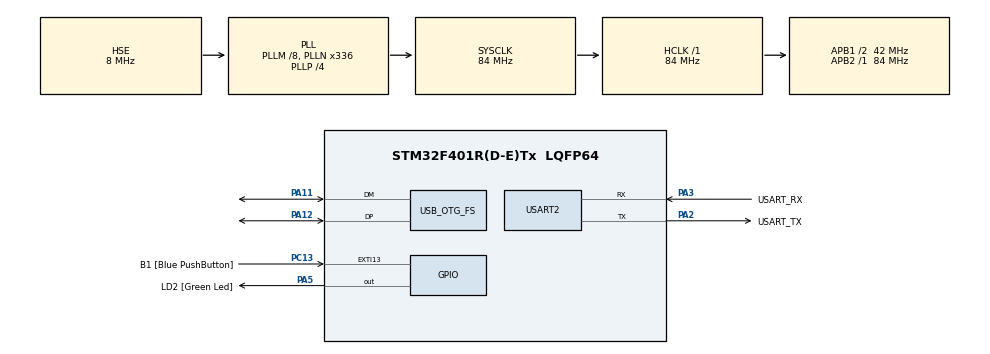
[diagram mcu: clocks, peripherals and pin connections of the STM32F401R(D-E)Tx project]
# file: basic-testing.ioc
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Mcu.Family=STM32F4
Mcu.Name=STM32F401R(D-E)Tx
Mcu.Package=LQFP64
NVIC.OTG_FS_IRQn=true\:0\:0\:false\:false\:true\:true\:true\:true
NVIC.PriorityGroup=NVIC_PRIORITYGROUP_2
NVIC.USART2_IRQn=true\:2\:0\:true\:false\:true\:true\:true\:true
PA11.Mode=Device_Only
PA11.Signal=USB_OTG_FS_DM
PA12.Mode=Device_Only
PA12.Signal=USB_OTG_FS_DP
PA13.GPIO_Label=TMS
PA13.Signal=SYS_JTMS-SWDIO
PA14.GPIO_Label=TCK
PA14.Signal=SYS_JTCK-SWCLK
PA2.GPIO_Label=USART_TX
PA2.GPIO_Mode=GPIO_MODE_AF_PP
PA2.GPIO_PuPd=GPIO_NOPULL
PA2.GPIO_Speed=GPIO_SPEED_FREQ_LOW
PA2.Mode=Asynchronous
PA2.Signal=USART2_TX
PA3.GPIO_Label=USART_RX
PA3.GPIO_Mode=GPIO_MODE_AF_PP
PA3.GPIO_PuPd=GPIO_NOPULL
PA3.GPIO_Speed=GPIO_SPEED_FREQ_LOW
PA3.Mode=Asynchronous
PA3.Signal=USART2_RX
PA5.GPIO_Label=LD2 [Green Led]
PA5.GPIO_Mode=GPIO_MODE_OUTPUT_PP
PA5.GPIO_PuPd=GPIO_NOPULL
PA5.GPIO_Speed=GPIO_SPEED_FREQ_LOW
PA5.Signal=GPIO_Output
PB3.GPIO_Label=SWO
PB3.Signal=SYS_JTDO-SWO
PC13-ANTI_TAMP.GPIO_Label=B1 [Blue PushButton]
PC13-ANTI_TAMP.GPIO_ModeDefaultEXTI=GPIO_MODE_IT_FALLING
PC13-ANTI_TAMP.GPIO_PuPd=GPIO_NOPULL
PC13-ANTI_TAMP.Signal=GPXTI13
PC14-OSC32_IN.Signal=RCC_OSC32_IN
PC15-OSC32_OUT.Signal=RCC_OSC32_OUT
PH0\ -\ OSC_IN.Mode=HSE-External-Oscillator
PH0\ -\ OSC_IN.Signal=RCC_OSC_IN
PH1\ -\ OSC_OUT.Mode=HSE-External-Oscillator
PH1\ -\ OSC_OUT.Signal=RCC_OSC_OUT
ProjectManager.HeapSize=0x200
ProjectManager.StackSize=0x400
ProjectManager.TargetToolchain=STM32CubeIDE
RCC.48MHZClocksFreq_Value=48000000
RCC.AHBFreq_Value=84000000
RCC.APB1CLKDivider=RCC_HCLK_DIV2
RCC.APB1Freq_Value=42000000
RCC.APB1TimFreq_Value=84000000
RCC.APB2Freq_Value=84000000
RCC.APB2TimFreq_Value=84000000
RCC.CortexFreq_Value=84000000
RCC.HCLKFreq_Value=84000000
RCC.HSE_VALUE=8000000
RCC.HSI_VALUE=16000000
RCC.LSE_VALUE=32768
RCC.PLLM=8
RCC.PLLN=336
RCC.PLLP=RCC_PLLP_DIV4
RCC.PLLQ=7
RCC.SYSCLKFreq_VALUE=84000000
RCC.SYSCLKSource=RCC_SYSCLKSOURCE_PLLCLK
RCC.VCOOutputFreq_Value=336000000
USART2.VirtualMode=VM_ASYNC
USB_OTG_FS.VirtualMode=Device_Only
board=NUCLEO-F401RE

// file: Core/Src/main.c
/* USER CODE BEGIN Header */
/**
  ******************************************************************************
  * @file           : main.c
  * @brief          : Main program body
  ******************************************************************************
  * @attention
  *
  * Copyright (c) 2024 STMicroelectronics.
  * All rights reserved.
  *
  * This software is licensed under terms that can be found in the LICENSE file
  * in the root directory of this software component.
  * If no LICENSE file comes with this software, it is provided AS-IS.
  *
  ******************************************************************************
  */
/* USER CODE END Header */
#include "main.h"

/* USER CODE BEGIN Includes */
#include "usb_device.h"
#include "console.h"
#include "logger.h"
#include <string.h>
/* USER CODE END Includes */

UART_HandleTypeDef huart2;

PCD_HandleTypeDef hpcd_USB_OTG_FS;

void SystemClock_Config(void);
static void MX_GPIO_Init(void);
static void MX_USB_OTG_FS_PCD_Init(void);
static void MX_USART2_UART_Init(void);
/* USER CODE BEGIN PFP */
static void cmd_help(const char *args);
static void cmd_info(const char *args);
/* USER CODE END PFP */

/* USER CODE BEGIN 0 */
static const console_command_t commands[] = {
    {"help", cmd_help, "Displays help information"},
    {"info", cmd_info, "Displays system information"},
    {"clear", cmd_clear, "Clears the screen"},
    {"log_dump", cmd_log_dump, "Display all logs"},
	{"log_clear", cmd_log_clear, "Clear the log buffer"}
};
// Compute the count when registering
size_t command_count = sizeof(commands)/sizeof(commands[0]);
/* USER CODE END 0 */

int main(void)
{

  /* MCU Configuration--------------------------------------------------------*/

  /* Reset of all peripherals, Initializes the Flash interface and the Systick. */
  HAL_Init();

  /* Configure the system clock */
  SystemClock_Config();

  /* Initialize all configured peripherals */
  MX_GPIO_Init();
  MX_USB_OTG_FS_PCD_Init();
  MX_USART2_UART_Init();
  /* USER CODE BEGIN 2 */
  logger_init();
  console_init(&huart2);
  // Register the commands we defined above
  console_register_commands(commands, sizeof(commands) / sizeof(commands[0]));
  // You may want to print a welcome message
  /* USER CODE END 2 */

  /* Infinite loop */
  while (1)
  {

    /* USER CODE BEGIN 3 */
	  console_task();
  }
  /* USER CODE END 3 */
}

void SystemClock_Config(void)
{
  RCC_OscInitTypeDef RCC_OscInitStruct = {0};
  RCC_ClkInitTypeDef RCC_ClkInitStruct = {0};

  /** Configure the main internal regulator output voltage
  */
  __HAL_RCC_PWR_CLK_ENABLE();
  __HAL_PWR_VOLTAGESCALING_CONFIG(PWR_REGULATOR_VOLTAGE_SCALE2);

  /** Initializes the RCC Oscillators according to the specified parameters
  * in the RCC_OscInitTypeDef structure.
  */
  RCC_OscInitStruct.OscillatorType = RCC_OSCILLATORTYPE_HSE;
  RCC_OscInitStruct.HSEState = RCC_HSE_ON;
  RCC_OscInitStruct.PLL.PLLState = RCC_PLL_ON;
  RCC_OscInitStruct.PLL.PLLSource = RCC_PLLSOURCE_HSE;
  RCC_OscInitStruct.PLL.PLLM = 8;
  RCC_OscInitStruct.PLL.PLLN = 336;
  RCC_OscInitStruct.PLL.PLLP = RCC_PLLP_DIV4;
  RCC_OscInitStruct.PLL.PLLQ = 7;
  if (HAL_RCC_OscConfig(&RCC_OscInitStruct) != HAL_OK)
  {
    Error_Handler();
  }

  /** Initializes the CPU, AHB and APB buses clocks
  */
  RCC_ClkInitStruct.ClockType = RCC_CLOCKTYPE_HCLK|RCC_CLOCKTYPE_SYSCLK
                              |RCC_CLOCKTYPE_PCLK1|RCC_CLOCKTYPE_PCLK2;
  RCC_ClkInitStruct.SYSCLKSource = RCC_SYSCLKSOURCE_PLLCLK;
  RCC_ClkInitStruct.AHBCLKDivider = RCC_SYSCLK_DIV1;
  RCC_ClkInitStruct.APB1CLKDivider = RCC_HCLK_DIV2;
  RCC_ClkInitStruct.APB2CLKDivider = RCC_HCLK_DIV1;

  if (HAL_RCC_ClockConfig(&RCC_ClkInitStruct, FLASH_LATENCY_2) != HAL_OK)
  {
    Error_Handler();
  }
}

static void MX_USART2_UART_Init(void)
{

  huart2.Instance = USART2;
  huart2.Init.BaudRate = 115200;
  huart2.Init.WordLength = UART_WORDLENGTH_8B;
  huart2.Init.StopBits = UART_STOPBITS_1;
  huart2.Init.Parity = UART_PARITY_NONE;
  huart2.Init.Mode = UART_MODE_TX_RX;
  huart2.Init.HwFlowCtl = UART_HWCONTROL_NONE;
  huart2.Init.OverSampling = UART_OVERSAMPLING_16;
  if (HAL_UART_Init(&huart2) != HAL_OK)
  {
    Error_Handler();
  }

}

static void MX_USB_OTG_FS_PCD_Init(void)
{

  hpcd_USB_OTG_FS.Instance = USB_OTG_FS;
  hpcd_USB_OTG_FS.Init.dev_endpoints = 4;
  hpcd_USB_OTG_FS.Init.speed = PCD_SPEED_FULL;
  hpcd_USB_OTG_FS.Init.dma_enable = DISABLE;
  hpcd_USB_OTG_FS.Init.phy_itface = PCD_PHY_EMBEDDED;
  hpcd_USB_OTG_FS.Init.Sof_enable = DISABLE;
  hpcd_USB_OTG_FS.Init.low_power_enable = DISABLE;
  hpcd_USB_OTG_FS.Init.lpm_enable = DISABLE;
  hpcd_USB_OTG_FS.Init.vbus_sensing_enable = DISABLE;
  hpcd_USB_OTG_FS.Init.use_dedicated_ep1 = DISABLE;
  if (HAL_PCD_Init(&hpcd_USB_OTG_FS) != HAL_OK)
  {
    Error_Handler();
  }
  /* USER CODE BEGIN USB_OTG_FS_Init 2 */
  MX_USB_DEVICE_Init();
  /* USER CODE END USB_OTG_FS_Init 2 */

}

static void MX_GPIO_Init(void)
{
  GPIO_InitTypeDef GPIO_InitStruct = {0};

  /* GPIO Ports Clock Enable */
  __HAL_RCC_GPIOC_CLK_ENABLE();
  __HAL_RCC_GPIOH_CLK_ENABLE();
  __HAL_RCC_GPIOA_CLK_ENABLE();
  __HAL_RCC_GPIOB_CLK_ENABLE();

  /*Configure GPIO pin Output Level */
  HAL_GPIO_WritePin(LD2_GPIO_Port, LD2_Pin, GPIO_PIN_RESET);

  /*Configure GPIO pin : B1_Pin */
  GPIO_InitStruct.Pin = B1_Pin;
  GPIO_InitStruct.Mode = GPIO_MODE_IT_FALLING;
  GPIO_InitStruct.Pull = GPIO_NOPULL;
  HAL_GPIO_Init(B1_GPIO_Port, &GPIO_InitStruct);

  /*Configure GPIO pin : LD2_Pin */
  GPIO_InitStruct.Pin = LD2_Pin;
  GPIO_InitStruct.Mode = GPIO_MODE_OUTPUT_PP;
  GPIO_InitStruct.Pull = GPIO_NOPULL;
  GPIO_InitStruct.Speed = GPIO_SPEED_FREQ_LOW;
  HAL_GPIO_Init(LD2_GPIO_Port, &GPIO_InitStruct);

}

/* USER CODE BEGIN 4 */
// Example command: 'help'
static void cmd_help(const char *args)
{
    (void)args;
    console_write("Available commands:\r\n");
    for (size_t i = 0; i < command_count; i++) {
        console_write(commands[i].name);
        console_write(": ");
        console_write(commands[i].help);
        console_write("\r\n");
    }
}

// Example command: 'info'
static void cmd_info(const char *args)
{
    (void)args;
    console_write("STM32 Console v1.0\r\n");
    console_write("Build date/time: " __DATE__ " " __TIME__ "\r\n");
    console_write("MCU: STM32F4xx\r\n");
}
/* USER CODE END 4 */

void Error_Handler(void)
{
  __disable_irq();
  while (1)
  {
  }
}
